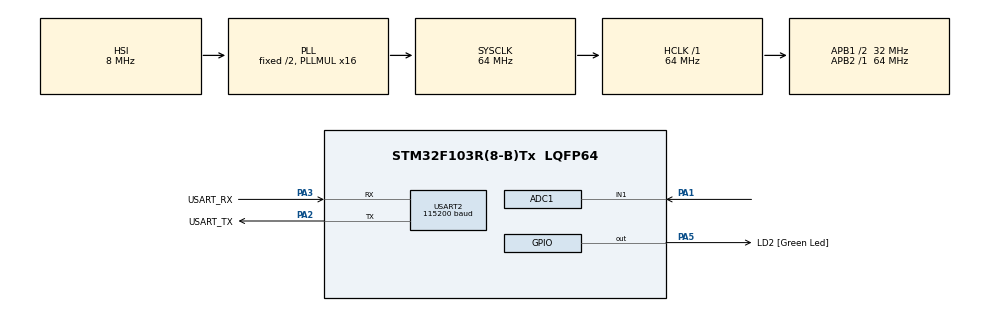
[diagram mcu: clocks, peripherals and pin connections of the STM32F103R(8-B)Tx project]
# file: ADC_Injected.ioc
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ADC1.Channel-0\#ChannelRegularConversion=ADC_CHANNEL_1
ADC1.ContinuousConvMode=ENABLE
ADC1.ExternalTrigInjecConv=ADC_INJECTED_SOFTWARE_START
ADC1.InjectedChannel-0\#ChannelInjectedConversion=ADC_CHANNEL_TEMPSENSOR
ADC1.InjectedNbrOfConversion=1
ADC1.InjectedRank-0\#ChannelInjectedConversion=1
ADC1.InjectedSamplingTime-0\#ChannelInjectedConversion=ADC_SAMPLETIME_239CYCLES_5
ADC1.NbrOfConversionFlag=1
ADC1.Rank-0\#ChannelRegularConversion=1
ADC1.SamplingTime-0\#ChannelRegularConversion=ADC_SAMPLETIME_239CYCLES_5
ADC1.master=1
Dma.ADC1.0.Direction=DMA_PERIPH_TO_MEMORY
Dma.ADC1.0.Instance=DMA1_Channel1
Dma.ADC1.0.MemDataAlignment=DMA_MDATAALIGN_HALFWORD
Dma.ADC1.0.MemInc=DMA_MINC_DISABLE
Dma.ADC1.0.Mode=DMA_CIRCULAR
Dma.ADC1.0.PeriphDataAlignment=DMA_PDATAALIGN_HALFWORD
Dma.ADC1.0.PeriphInc=DMA_PINC_DISABLE
Dma.ADC1.0.Priority=DMA_PRIORITY_LOW
Dma.Request0=ADC1
Mcu.Family=STM32F1
Mcu.Name=STM32F103R(8-B)Tx
Mcu.Package=LQFP64
NVIC.ADC1_2_IRQn=true\:1\:0\:false\:false\:true\:true\:true\:true
NVIC.PriorityGroup=NVIC_PRIORITYGROUP_4
PA1.Mode=IN1
PA1.Signal=ADC1_IN1
PA13.GPIO_Label=TMS
PA13.Mode=Serial_Wire
PA13.Signal=SYS_JTMS-SWDIO
PA14.GPIO_Label=TCK
PA14.Mode=Serial_Wire
PA14.Signal=SYS_JTCK-SWCLK
PA2.GPIO_Label=USART_TX
PA2.GPIO_Mode=GPIO_MODE_AF_PP
PA2.GPIO_PuPd=GPIO_NOPULL
PA2.GPIO_Speed=GPIO_SPEED_FREQ_LOW
PA2.Mode=Asynchronous
PA2.Signal=USART2_TX
PA3.GPIO_Label=USART_RX
PA3.GPIO_PuPd=GPIO_NOPULL
PA3.GPIO_Speed=GPIO_SPEED_FREQ_LOW
PA3.Mode=Asynchronous
PA3.Signal=USART2_RX
PA5.GPIO_Label=LD2 [Green Led]
PA5.GPIO_ModeDefaultOutputPP=GPIO_MODE_OUTPUT_PP
PA5.GPIO_PuPd=GPIO_NOPULL
PA5.GPIO_Speed=GPIO_SPEED_FREQ_LOW
PA5.Signal=GPIO_Output
PB3.GPIO_Label=SWO
PB3.Signal=SYS_JTDO-TRACESWO
PC14-OSC32_IN.Mode=LSE-External-Oscillator
PC14-OSC32_IN.Signal=RCC_OSC32_IN
PC15-OSC32_OUT.Mode=LSE-External-Oscillator
PC15-OSC32_OUT.Signal=RCC_OSC32_OUT
PD0-OSC_IN.Mode=HSE-External-Clock-Source
PD0-OSC_IN.Signal=RCC_OSC_IN
PD1-OSC_OUT.Mode=HSE-External-Clock-Source
PD1-OSC_OUT.Signal=RCC_OSC_OUT
ProjectManager.HeapSize=0x200
ProjectManager.StackSize=0x400
ProjectManager.TargetToolchain=STM32CubeIDE
RCC.ADCPresc=RCC_ADCPCLK2_DIV6
RCC.AHBFreq_Value=64000000
RCC.APB1CLKDivider=RCC_HCLK_DIV2
RCC.APB1Freq_Value=32000000
RCC.APB1TimFreq_Value=64000000
RCC.APB2Freq_Value=64000000
RCC.APB2TimFreq_Value=64000000
RCC.HCLKFreq_Value=64000000
RCC.PLLMUL=RCC_PLL_MUL16
RCC.RTCClockSelection=RCC_RTCCLKSOURCE_LSE
RCC.SYSCLKFreq_VALUE=64000000
RCC.SYSCLKSource=RCC_SYSCLKSOURCE_PLLCLK
RCC.USBFreq_Value=64000000
USART2.BaudRate=115200
USART2.VirtualMode=VM_ASYNC
VP_ADC1_TempSens_Input.Mode=IN-TempSens
board=NUCLEO-F103RB

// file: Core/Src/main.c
/* USER CODE BEGIN Header */
/**
 ******************************************************************************
 * @file           : main.c
 * @brief          : Main program body
 ******************************************************************************
 * @attention
 *
 * Copyright (c) 2026 STMicroelectronics.
 * All rights reserved.
 *
 * This software is licensed under terms that can be found in the LICENSE file
 * in the root directory of this software component.
 * If no LICENSE file comes with this software, it is provided AS-IS.
 *
 ******************************************************************************
 */
/**
 * 01_ADC_Injected_c  —  [계층: HAL]  ADC 주입(Injected) 채널: 연속 변환 중에도 우선 끼어드는 변환
 *
 * 정규(regular) 채널과 주입(injected) 채널의 차이 (RM0008 11장)
 *   정규 채널  : 최대 16개 시퀀스. 결과가 하나의 DR(16비트)에 쌓여 DMA 나 빠른 읽기가 필요하다.
 *   주입 채널  : 최대 4개. 결과가 채널별 전용 JDR1~JDR4 에 저장되어 덮어써지지 않고, 정규 변환을 "중단시키고" 먼저 실행된다.
 *                -> 느린 정규 스캔(예: 센서 여러 개)이 도는 중에도 급한 측정(예: 과전류 감시, 모터 전류 샘플링)을 제때 할 수 있다.
 *
 * 이 예제
 *   정규 채널 : ADC1 CH1 (PA1) 를 연속 변환(DMA 로 최신값을 변수에 저장). PA1 에 가변저항 등을 연결.
 *   주입 채널 : ADC1 CH16 (내부 온도 센서)를 500ms 마다 소프트웨어 트리거로 1회 변환, 변환 완료 인터럽트(JEOC)에서 결과 읽기.
 *   -> 정규 변환이 계속 돌고 있어도 온도 측정이 정확히 500ms 마다 실행되는 것을 확인.
 *   온도 계산 (RM0008 11.10, 데이터시트): T[°C] = (V25 - Vsense)/Avg_Slope + 25,  V25 ≈ 1.43V, Avg_Slope ≈ 4.3mV/°C (개체 편차 큼, 절대값은 ±수 °C)
 *
 * 하드웨어 대응
 *   ADC1->JSQR : 주입 시퀀스(JL 길이, JSQx 채널),  CR2.JEXTSEL=111 + JEXTTRIG : 소프트웨어 트리거 (JSWSTART 로 시작)
 *   ADC1->JOFR1 : 주입 채널 오프셋(결과에서 자동 차감),  ADC1->JDR1 : 결과,  SR.JEOC / CR1.JEOCIE : 주입 변환 완료 플래그/인터럽트
 *   CR2.TSVREFE : 온도센서/Vrefint 활성화 (HAL 이 채널 16 설정 시 켬),  샘플 시간 239.5 사이클(온도센서 최소 17.1us 요구)
 *
 * ISR vs 콜백
 *   ADC1_2_IRQHandler (stm32f1xx_it.c, 진짜 ISR) -> HAL_ADC_IRQHandler()
 *     -> HAL_ADCEx_InjectedConvCpltCallback() (이 파일) : 주입 변환 1회 완료
 */
/* USER CODE END Header */
#include "main.h"

/* USER CODE BEGIN Includes */
#include <stdio.h>
#include <string.h>
/* USER CODE END Includes */

ADC_HandleTypeDef hadc1;
DMA_HandleTypeDef hdma_adc1;
UART_HandleTypeDef huart2;

/* USER CODE BEGIN PV */
static volatile uint16_t reg_val;             /* 정규 채널(PA1) 최신값 (DMA 가 계속 덮어씀) */
static volatile uint32_t temp_raw;            /* 주입 채널(온도센서) 결과 */
static volatile uint32_t inj_count;
/* USER CODE END PV */

void SystemClock_Config(void);
static void MX_GPIO_Init(void);
static void MX_DMA_Init(void);
static void MX_ADC1_Init(void);
static void MX_USART2_UART_Init(void);

int main(void)
{

  /* MCU Configuration--------------------------------------------------------*/

  /* Reset of all peripherals, Initializes the Flash interface and the Systick. */
  HAL_Init();

  /* Configure the system clock */
  SystemClock_Config();

  /* Initialize all configured peripherals */
  MX_GPIO_Init();
  MX_DMA_Init();
  MX_ADC1_Init();
  MX_USART2_UART_Init();
  /* USER CODE BEGIN 2 */
  HAL_ADCEx_Calibration_Start(&hadc1);

  if (HAL_ADC_Start_DMA(&hadc1, (uint32_t *)&reg_val, 1) != HAL_OK) Error_Handler();   /* 정규 연속 변환 시작 */

  char msg[96];
  uint32_t t_inj = HAL_GetTick();
  /* USER CODE END 2 */

  /* Infinite loop */
  while (1)
  {

    /* USER CODE BEGIN 3 */
    if (HAL_GetTick() - t_inj >= 500)
    {
        t_inj += 500;
        if (HAL_ADCEx_InjectedStart_IT(&hadc1) != HAL_OK) Error_Handler();   /* JSWSTART: 정규 변환을 끊고 주입 변환 실행 */
    }

    static uint32_t last_count;
    if (inj_count != last_count)
    {
        last_count = inj_count;
        /* mV = raw x 3300 / 4095 (VDDA=3.3V 가정),  T = (1430 - mV) x 10 / 43 + 25 */
        int32_t mv = (int32_t)(temp_raw * 3300UL / 4095UL);
        int32_t t10 = (1430 - mv) * 100 / 43 + 250;            /* 0.1 °C 단위 */
        int n = snprintf(msg, sizeof msg, "regular(PA1)=%4u  injected(temp raw)=%4lu (%ld mV)  temp=%ld.%ld C  #%lu\r\n",
                         reg_val, (unsigned long)temp_raw, (long)mv, (long)(t10 / 10), (long)(t10 < 0 ? -t10 % 10 : t10 % 10),
                         (unsigned long)inj_count);
        HAL_UART_Transmit(&huart2, (uint8_t *)msg, (uint16_t)n, 100);
    }
  }
  /* USER CODE END 3 */
}

void SystemClock_Config(void)
{
  RCC_OscInitTypeDef RCC_OscInitStruct = {0};
  RCC_ClkInitTypeDef RCC_ClkInitStruct = {0};
  RCC_PeriphCLKInitTypeDef PeriphClkInit = {0};

  /** Initializes the RCC Oscillators according to the specified parameters
  * in the RCC_OscInitTypeDef structure.
  */
  RCC_OscInitStruct.OscillatorType = RCC_OSCILLATORTYPE_HSI;
  RCC_OscInitStruct.HSIState = RCC_HSI_ON;
  RCC_OscInitStruct.HSICalibrationValue = RCC_HSICALIBRATION_DEFAULT;
  RCC_OscInitStruct.PLL.PLLState = RCC_PLL_ON;
  RCC_OscInitStruct.PLL.PLLSource = RCC_PLLSOURCE_HSI_DIV2;
  RCC_OscInitStruct.PLL.PLLMUL = RCC_PLL_MUL16;
  if (HAL_RCC_OscConfig(&RCC_OscInitStruct) != HAL_OK)
  {
    Error_Handler();
  }

  /** Initializes the CPU, AHB and APB buses clocks
  */
  RCC_ClkInitStruct.ClockType = RCC_CLOCKTYPE_HCLK|RCC_CLOCKTYPE_SYSCLK
                              |RCC_CLOCKTYPE_PCLK1|RCC_CLOCKTYPE_PCLK2;
  RCC_ClkInitStruct.SYSCLKSource = RCC_SYSCLKSOURCE_PLLCLK;
  RCC_ClkInitStruct.AHBCLKDivider = RCC_SYSCLK_DIV1;
  RCC_ClkInitStruct.APB1CLKDivider = RCC_HCLK_DIV2;
  RCC_ClkInitStruct.APB2CLKDivider = RCC_HCLK_DIV1;

  if (HAL_RCC_ClockConfig(&RCC_ClkInitStruct, FLASH_LATENCY_2) != HAL_OK)
  {
    Error_Handler();
  }
  PeriphClkInit.PeriphClockSelection = RCC_PERIPHCLK_ADC;
  PeriphClkInit.AdcClockSelection = RCC_ADCPCLK2_DIV6;
  if (HAL_RCCEx_PeriphCLKConfig(&PeriphClkInit) != HAL_OK)
  {
    Error_Handler();
  }
}

static void MX_ADC1_Init(void)
{

  ADC_ChannelConfTypeDef sConfig = {0};
  ADC_InjectionConfTypeDef sConfigInjected = {0};

  /** Common config
  */
  hadc1.Instance = ADC1;
  hadc1.Init.ScanConvMode = ADC_SCAN_DISABLE;
  hadc1.Init.ContinuousConvMode = ENABLE;
  hadc1.Init.DiscontinuousConvMode = DISABLE;
  hadc1.Init.ExternalTrigConv = ADC_SOFTWARE_START;
  hadc1.Init.DataAlign = ADC_DATAALIGN_RIGHT;
  hadc1.Init.NbrOfConversion = 1;
  if (HAL_ADC_Init(&hadc1) != HAL_OK)
  {
    Error_Handler();
  }

  /** Configure Regular Channel
  */
  sConfig.Channel = ADC_CHANNEL_1;
  sConfig.Rank = ADC_REGULAR_RANK_1;
  sConfig.SamplingTime = ADC_SAMPLETIME_239CYCLES_5;
  if (HAL_ADC_ConfigChannel(&hadc1, &sConfig) != HAL_OK)
  {
    Error_Handler();
  }

  /** Configure Injected Channel
  */
  sConfigInjected.InjectedChannel = ADC_CHANNEL_TEMPSENSOR;
  sConfigInjected.InjectedRank = ADC_INJECTED_RANK_1;
  sConfigInjected.InjectedNbrOfConversion = 1;
  sConfigInjected.InjectedSamplingTime = ADC_SAMPLETIME_239CYCLES_5;
  sConfigInjected.ExternalTrigInjecConv = ADC_INJECTED_SOFTWARE_START;
  sConfigInjected.AutoInjectedConv = DISABLE;
  sConfigInjected.InjectedDiscontinuousConvMode = DISABLE;
  sConfigInjected.InjectedOffset = 0;
  if (HAL_ADCEx_InjectedConfigChannel(&hadc1, &sConfigInjected) != HAL_OK)
  {
    Error_Handler();
  }
  /* USER CODE BEGIN ADC1_Init 2 */
  /* [설정 요약 -- 레지스터 관점]
   *  ADC 클럭    : PCLK2(64MHz)/6 = 10.67MHz  (SystemClock_Config 의 RCC_ADCPCLK2_DIV6, RCC->CFGR.ADCPRE)
   *  정규 채널   : CH1(PA1), 연속 변환 (CR2.CONT=1), 소프트웨어 시작, 샘플 239.5 사이클 (SMPR2)
   *  주입 채널   : CH16(내부 온도센서) -> ADC1->JSQR (JL=0: 1개), CR2.JEXTSEL=111 + JEXTTRIG: 소프트웨어 트리거 (JSWSTART)
   *                CR1.JAUTO=0 (정규 뒤에 자동 실행 안 함), ADC1->JOFR1=0 (오프셋), 결과는 ADC1->JDR1
   *                CR2.TSVREFE: HAL 이 채널 16 설정 시 켠다. 온도센서 샘플 시간은 최소 17.1us -> 239.5 사이클(약 22us)
   *  DMA        : DMA1_Channel1 원형, 16비트 -> reg_val (MX_DMA_Init / HAL_ADC_MspInit).
   *               DMA 인터럽트(NVIC)는 사용하지 않는다 (최신값만 덮어쓰면 되므로). */
  /* USER CODE END ADC1_Init 2 */

}

static void MX_USART2_UART_Init(void)
{

  huart2.Instance = USART2;
  huart2.Init.BaudRate = 115200;
  huart2.Init.WordLength = UART_WORDLENGTH_8B;
  huart2.Init.StopBits = UART_STOPBITS_1;
  huart2.Init.Parity = UART_PARITY_NONE;
  huart2.Init.Mode = UART_MODE_TX_RX;
  huart2.Init.HwFlowCtl = UART_HWCONTROL_NONE;
  huart2.Init.OverSampling = UART_OVERSAMPLING_16;
  if (HAL_UART_Init(&huart2) != HAL_OK)
  {
    Error_Handler();
  }

}

static void MX_DMA_Init(void)
{

  /* DMA controller clock enable */
  __HAL_RCC_DMA1_CLK_ENABLE();

}

static void MX_GPIO_Init(void)
{
  GPIO_InitTypeDef GPIO_InitStruct = {0};

  /* GPIO Ports Clock Enable */
  __HAL_RCC_GPIOC_CLK_ENABLE();
  __HAL_RCC_GPIOD_CLK_ENABLE();
  __HAL_RCC_GPIOA_CLK_ENABLE();
  __HAL_RCC_GPIOB_CLK_ENABLE();

  /*Configure GPIO pin Output Level */
  HAL_GPIO_WritePin(LD2_GPIO_Port, LD2_Pin, GPIO_PIN_RESET);

  /*Configure GPIO pin : LD2_Pin */
  GPIO_InitStruct.Pin = LD2_Pin;
  GPIO_InitStruct.Mode = GPIO_MODE_OUTPUT_PP;
  GPIO_InitStruct.Pull = GPIO_NOPULL;
  GPIO_InitStruct.Speed = GPIO_SPEED_FREQ_LOW;
  HAL_GPIO_Init(LD2_GPIO_Port, &GPIO_InitStruct);

}

/* USER CODE BEGIN 4 */
/* ------------------------------------------------------------------------- */
/* HAL 콜백 (ISR 문맥): 주입 변환 완료 (SR.JEOC)                                  */
/* ------------------------------------------------------------------------- */
void HAL_ADCEx_InjectedConvCpltCallback(ADC_HandleTypeDef *hadc)
{
    if (hadc->Instance != ADC1) return;
    temp_raw = HAL_ADCEx_InjectedGetValue(hadc, ADC_INJECTED_RANK_1);   /* ADC1->JDR1 (오프셋 차감 후) */
    inj_count++;
}
/* USER CODE END 4 */

void Error_Handler(void)
{
  __disable_irq();
  while (1) {
  }
}
#ifdef USE_FULL_ASSERT
/**
  * @brief  Reports the name of the source file and the source line number
  *         where the assert_param error has occurred.
  * @param  file: pointer to the source file name
  * @param  line: assert_param error line source number
  * @retval None
  */
void assert_failed(uint8_t *file, uint32_t line)
{
  /* USER CODE BEGIN 6 */
  /* User can add his own implementation to report the file name and line
     number, ex: printf("Wrong parameters value: file %s on line %d\r\n", file,
     line) */
  /* USER CODE END 6 */
}
#endif /* USE_FULL_ASSERT */
